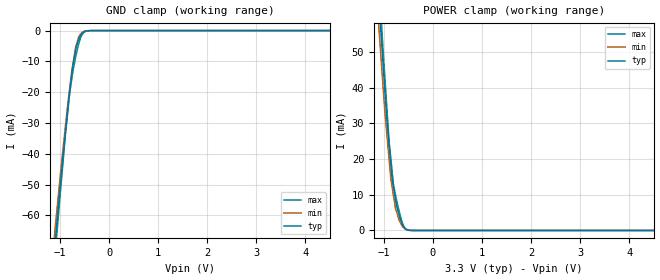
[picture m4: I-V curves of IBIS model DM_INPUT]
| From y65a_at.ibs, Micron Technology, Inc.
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|   MODEL DM_INPUT
[Model]   DM_INPUT
Model_type   Input
Vinl = 800.000mV
Vinh = 2.000V
|   typ   min   max
C_comp   2.675pF   2.575pF   2.775pF
[Voltage Range]   3.300V   3.000V   3.600V
| Junction Temperature (Case temp is 35C typ, 105C min, -40C max)
[Temperature Range]   50.0   110.0   -40.0
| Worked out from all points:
|   GND clamp passes 1 mA (typ) near -0.56 V on its own axis
|   POWER clamp passes 1 mA (typ) near -0.59 V on its own axis
[GND Clamp]
|   Voltage   I(typ)   I(min)   I(max)
-3.3V     -494.6mA   -455.1mA   -540.1mA
-1.12V    -72.2mA    -67.34mA   -76.72mA
-1.08V    -65.07mA   -60.83mA   -68.9mA
-1.06V    -61.61mA   -57.58mA   -64.99mA
-890mV    -32.87mA   -30.83mA   -33.56mA
-800mV    -19.28mA   -18.2mA    -19.78mA
-745mV    -11.95mA   -11.5mA    -13.93mA
-685mV    -6.621mA   -5.545mA   -8.76mA
-620mV    -2.814mA   -2.024mA   -4.326mA
-590mV    -1.833mA   -1.327mA   -2.682mA
-505mV    -322.1uA   -199.3uA   -451.1uA
6.6V      0A         0A         0A
[POWER Clamp]
|   Voltage   I(typ)   I(min)   I(max)
-3.3V     589.7mA    555.4mA    639.3mA
-1.12V    68.28mA    60.43mA    75.08mA
-1.085V   60.69mA    53.68mA    66.74mA
-1.055V   54.59mA    47.89mA    59.62mA
-1.015V   46.51mA    40.17mA    50.38mA
-940mV    31.43mA    27.21mA    34.73mA
-890mV    23.68mA    19.53mA    24.42mA
-830mV    14.39mA    12.05mA    16.42mA
-800mV    11.78mA    9.398mA    12.54mA
-690mV    4.358mA    2.975mA    5.496mA
-555mV    424.2uA    312.8uA    373.5uA
6.6V      0A         0A         0A
